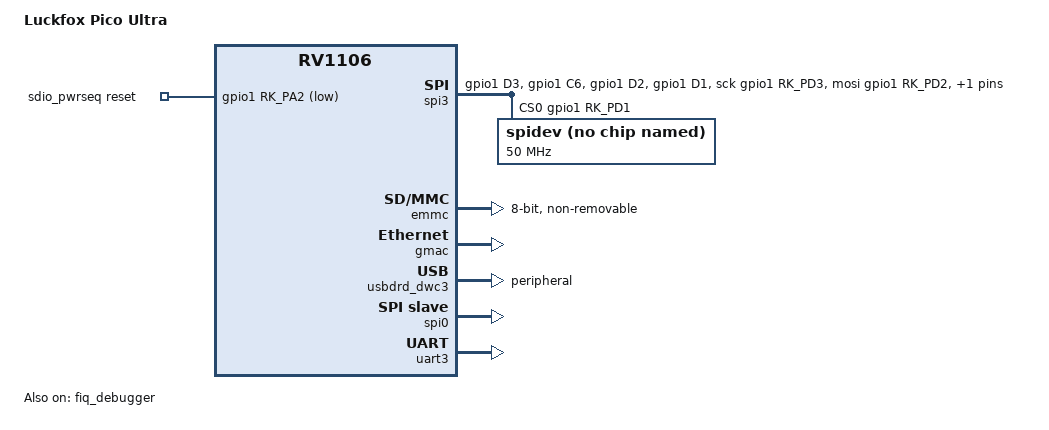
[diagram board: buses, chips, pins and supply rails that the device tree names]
// SPDX-License-Identifier: (GPL-2.0+ OR MIT)
/*
 * Copyright (c) 2022 Rockchip Electronics Co., Ltd.
 */

/dts-v1/;
#include "rv1106.dtsi"
#include "rv1106-luckfox-pico-ultra-ipc.dtsi"
#include "rv1106-thunder-boot-emmc.dtsi"
#include <dt-bindings/input/input.h>
#include <dt-bindings/display/media-bus-format.h>

/ {
	model = "Luckfox Pico Ultra";
	compatible = "rockchip,rv1103g-38x38-ipc-v10", "rockchip,rv1106";

	restart-poweroff {
		compatible = "restart-poweroff";
	};

	sdio_pwrseq: sdio-pwrseq {
		compatible = "mmc-pwrseq-simple";
		pinctrl-names = "default";
		reset-gpios = <&gpio1 RK_PA2 GPIO_ACTIVE_LOW>;
	};

	spi3: spi@gpiol {
		compatible = "spi-gpio";
		#address-cells = <1>;
		gpio-sck = <&gpio1 RK_PD3 GPIO_ACTIVE_HIGH>;
		gpio-miso = <&gpio1 RK_PC6 GPIO_ACTIVE_HIGH>;
		gpio-mosi = <&gpio1 RK_PD2 GPIO_ACTIVE_HIGH>;
		cs-gpios = <&gpio1 RK_PD1 GPIO_ACTIVE_HIGH>;
		num-chipselects = <1>;
		pinctrl-names = "default";
		pinctrl-0 = <&spi3gpio_pins>;
		status = "disabled";
	};
};

/**********EMMC**********/
&emmc {
	bus-width = <8>;
	cap-mmc-highspeed;
	non-removable;
	// mmc-hs200-1_8v;
	rockchip,default-sample-phase = <90>;
	no-sdio;
	no-sd;
	memory-region-ecsd = <&mmc_ecsd>;
	post-power-on-delay-ms = <0>;
	status = "okay";
};

&fiq_debugger {
	rockchip,irq-mode-enable = <1>;
	status = "okay";
};

/**********ETH**********/
&gmac {
	status = "okay";
};

/**********USB**********/
&usbdrd_dwc3 {
	status = "okay";
	dr_mode = "peripheral";
};

/**********RTC**********/
&rtc {
	status = "disabled";
};

/**********SPI**********/
&spi0 {
	status = "disabled";
	spidev@0 {
		spi-max-frequency = <50000000>;
	};
};

&uart3 {
	status = "okay";
	pinctrl-names = "default";
	pinctrl-0 = <&uart3m0_xfer>;
};

&rgb {
	status = "disabled";
};

&rgb_in_vop {
	status = "disabled";
};

&vop {
	status = "disabled";
};

&spi0 {
	status = "okay";
	spi-slave;
	slave {
		compatible ="rockchip,spidev";
		reg = <0>;
		id = <0>;
	};
};

&pinctrl {
	spi3 {
		spi3gpio_pins: spi3gpio_pins {
			rockchip,pins =
				<1 RK_PD3 0 &pcfg_pull_none>,
				<1 RK_PC6 0 &pcfg_pull_none>,
				<1 RK_PD2 0 &pcfg_pull_none>,
				<1 RK_PD1 0 &pcfg_pull_none>;
		};
	};
};

&spi3 {
	status = "okay";
	spidev@0 {
		compatible = "rockchip,spidev";
		spi-max-frequency = <50000000>;
		reg = <0>;
		status = "okay";
	};
};
